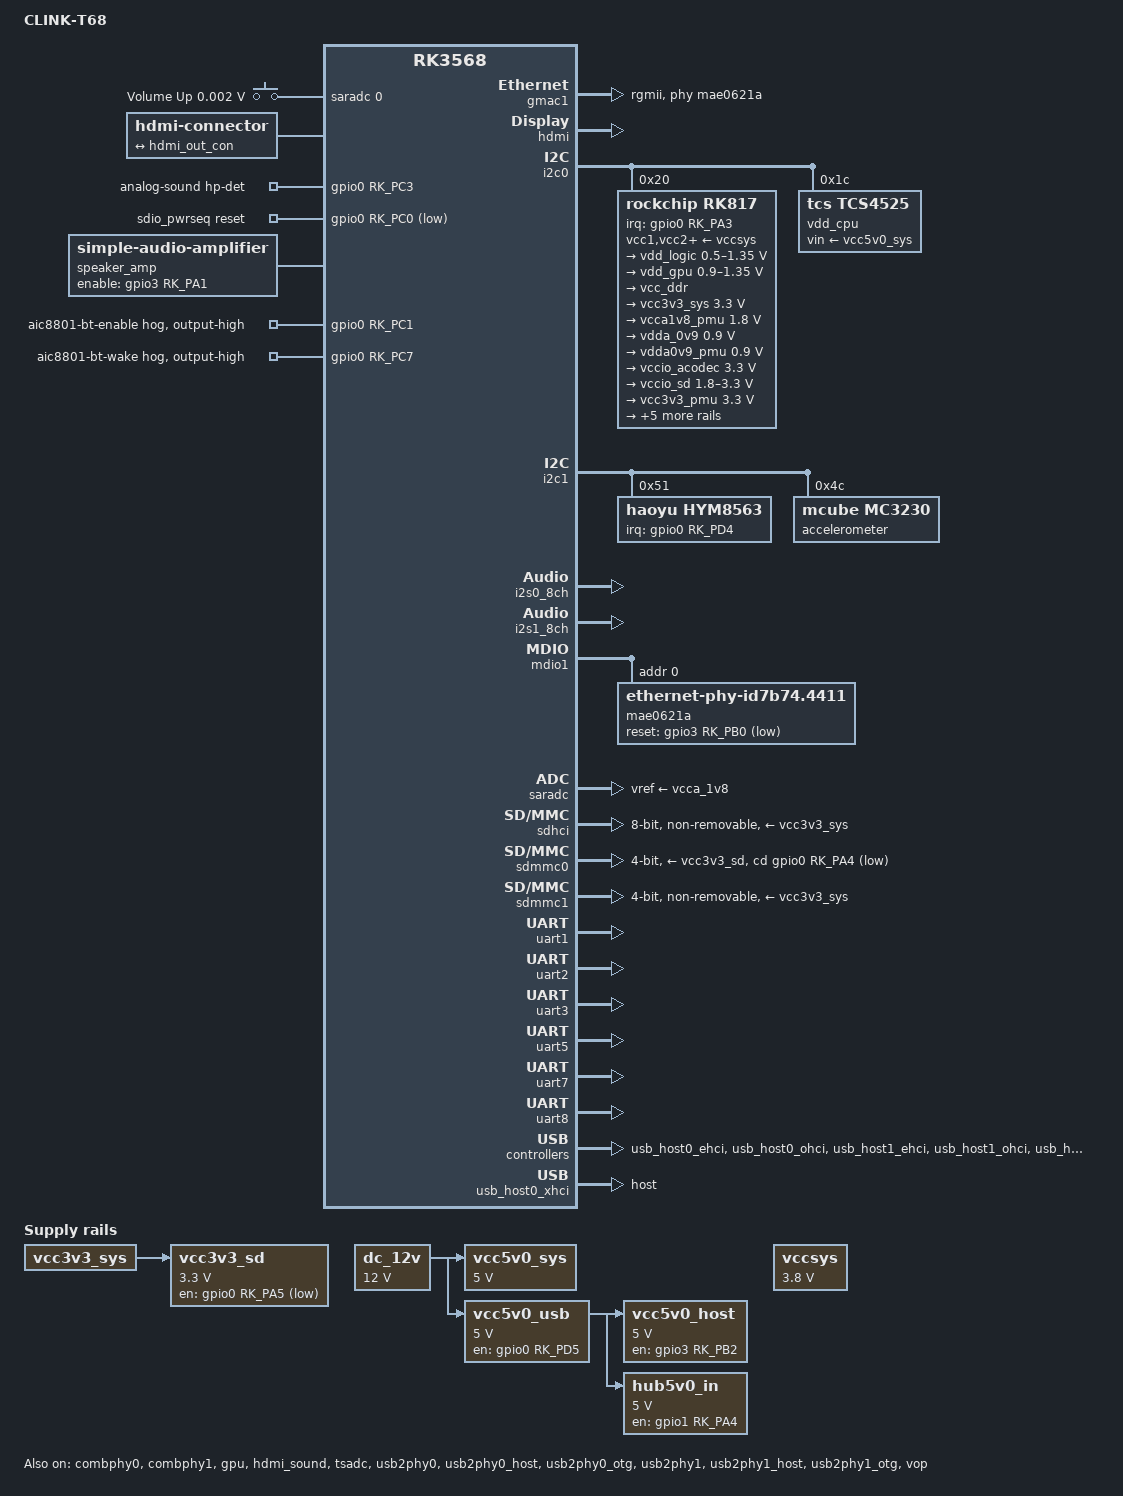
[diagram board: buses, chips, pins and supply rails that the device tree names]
// SPDX-License-Identifier: (GPL-2.0+ OR MIT)
/*
 * Copyright (c) 2022 Fuzhou Rockchip Electronics Co., Ltd.
 * Copyright (c) 2026 retro98boy <retro98boy@qq.com>
 */

/dts-v1/;

#include <dt-bindings/gpio/gpio.h>
#include <dt-bindings/input/input.h>
#include <dt-bindings/pinctrl/rockchip.h>
#include <dt-bindings/soc/rockchip,vop2.h>
#include "rk3568.dtsi"

/ {
	model = "CLINK-T68";
	compatible = "clink,t68", "rockchip,rk3568";

	adc-keys {
		compatible = "adc-keys";
		io-channels = <&saradc 0>;
		io-channel-names = "buttons";
		keyup-threshold-microvolt = <1800000>;
		poll-interval = <100>;

		button-volume-up {
			label = "Volume Up";
			linux,code = <KEY_VOLUMEUP>;
			press-threshold-microvolt = <1750>;
		};
	};

	aliases {
		/delete-property/ ethernet1;
		ethernet0 = &gmac1;
		mmc0 = &sdhci;
		mmc1 = &sdmmc0;
		mmc2 = &sdmmc1;
		rtc0 = &hym8563;
		rtc1 = &rk817;
	};

	chosen {
		stdout-path = "serial2:1500000n8";
	};

	hdmi-con {
		compatible = "hdmi-connector";
		type = "a";

		port {
			hdmi_con_in: endpoint {
				remote-endpoint = <&hdmi_out_con>;
			};
		};
	};

	analog-sound {
		compatible = "simple-audio-card";
		pinctrl-names = "default";
		pinctrl-0 = <&hp_det>;
		simple-audio-card,name = "CLINK-T68";
		simple-audio-card,format = "i2s";
		simple-audio-card,mclk-fs = <256>;
		simple-audio-card,hp-det-gpios = <&gpio0 RK_PC3 GPIO_ACTIVE_HIGH>;
		simple-audio-card,aux-devs = <&speaker_amp>;
		simple-audio-card,pin-switches = "Speaker";
		simple-audio-card,widgets =
			"Headphone", "Headphones",
			"Speaker", "Speaker",
			"Microphone", "Microphone";
		/* The RK817 shares its left headphone pin with the Class-D output. */
		simple-audio-card,routing =
			"Headphones", "HPOR",
			"Speaker Amp INL", "SPKO",
			"Speaker Amp INR", "SPKO",
			"Speaker", "Speaker Amp OUTL",
			"Speaker", "Speaker Amp OUTR",
			"MICL", "Microphone",
			"MICR", "Microphone";

		simple-audio-card,cpu {
			sound-dai = <&i2s1_8ch>;
		};

		simple-audio-card,codec {
			sound-dai = <&rk817>;
		};
	};

	sdio_pwrseq: sdio-pwrseq {
		compatible = "mmc-pwrseq-simple";
		clocks = <&xin32k>;
		clock-names = "ext_clock";
		pinctrl-names = "default";
		pinctrl-0 = <&wifi_enable_h>;
		reset-gpios = <&gpio0 RK_PC0 GPIO_ACTIVE_LOW>;
		post-power-on-delay-ms = <200>;
	};

	speaker_amp: speaker-amplifier {
		compatible = "simple-audio-amplifier";
		enable-gpios = <&gpio3 RK_PA1 GPIO_ACTIVE_HIGH>;
		sound-name-prefix = "Speaker Amp";
	};

	dc_12v: regulator-dc-12v {
		compatible = "regulator-fixed";
		regulator-name = "dc_12v";
		regulator-always-on;
		regulator-boot-on;
		regulator-min-microvolt = <12000000>;
		regulator-max-microvolt = <12000000>;
	};

	vccsys: regulator-vccsys {
		compatible = "regulator-fixed";
		regulator-name = "vcc3v8_sys";
		regulator-always-on;
		regulator-boot-on;
		regulator-min-microvolt = <3800000>;
		regulator-max-microvolt = <3800000>;
	};

	vcc3v3_sd: regulator-vcc3v3-sd {
		compatible = "regulator-fixed";
		regulator-name = "vcc3v3_sd";
		regulator-always-on;
		regulator-boot-on;
		regulator-min-microvolt = <3300000>;
		regulator-max-microvolt = <3300000>;
		enable-active-low;
		gpio = <&gpio0 RK_PA5 GPIO_ACTIVE_LOW>;
		vin-supply = <&vcc3v3_sys>;
		pinctrl-names = "default";
		pinctrl-0 = <&sdmmc0_pwr>;

		regulator-state-mem {
			regulator-off-in-suspend;
		};
	};

	vcc5v0_sys: regulator-vcc5v0-sys {
		compatible = "regulator-fixed";
		regulator-name = "vcc5v0_sys";
		regulator-always-on;
		regulator-boot-on;
		regulator-min-microvolt = <5000000>;
		regulator-max-microvolt = <5000000>;
		vin-supply = <&dc_12v>;
	};

	vcc5v0_usb: regulator-vcc5v0-usb {
		compatible = "regulator-fixed";
		regulator-name = "vcc5v0_usb";
		regulator-always-on;
		regulator-boot-on;
		regulator-min-microvolt = <5000000>;
		regulator-max-microvolt = <5000000>;
		enable-active-high;
		gpio = <&gpio0 RK_PD5 GPIO_ACTIVE_HIGH>;
		vin-supply = <&dc_12v>;

		regulator-state-mem {
			regulator-off-in-suspend;
		};
	};

	vcc5v0_host: regulator-vcc5v0-host {
		compatible = "regulator-fixed";
		regulator-name = "vcc5v0_host";
		regulator-boot-on;
		regulator-always-on;
		regulator-min-microvolt = <5000000>;
		regulator-max-microvolt = <5000000>;
		enable-active-high;
		gpio = <&gpio3 RK_PB2 GPIO_ACTIVE_HIGH>;
		vin-supply = <&vcc5v0_usb>;
		pinctrl-names = "default";
		pinctrl-0 = <&vcc5v0_host_en>;
	};

	hub5v0_in: regulator-hub5v0-in {
		compatible = "regulator-fixed";
		regulator-name = "hub5v0_in";
		regulator-boot-on;
		regulator-always-on;
		regulator-min-microvolt = <5000000>;
		regulator-max-microvolt = <5000000>;
		enable-active-high;
		gpio = <&gpio1 RK_PA4 GPIO_ACTIVE_HIGH>;
		vin-supply = <&vcc5v0_usb>;
		pinctrl-names = "default";
		pinctrl-0 = <&hub5v0_in_en>;

		regulator-state-mem {
			regulator-off-in-suspend;
		};
	};
};

&combphy0 {
	phy-supply = <&otg_switch>;
	status = "okay";
};

&combphy1 {
	phy-supply = <&vcc5v0_host>;
	status = "okay";
};

&cpu0 {
	cpu-supply = <&vdd_cpu>;
};

&cpu1 {
	cpu-supply = <&vdd_cpu>;
};

&cpu2 {
	cpu-supply = <&vdd_cpu>;
};

&cpu3 {
	cpu-supply = <&vdd_cpu>;
};

&gmac1 {
	phy-mode = "rgmii";
	clock_in_out = "output";
	assigned-clocks = <&cru SCLK_GMAC1_RX_TX>, <&cru SCLK_GMAC1>;
	assigned-clock-parents = <&cru SCLK_GMAC1_RGMII_SPEED>;
	assigned-clock-rates = <0>, <125000000>;
	pinctrl-names = "default";
	pinctrl-0 = <&gmac1m1_miim &gmac1m1_tx_bus2 &gmac1m1_rx_bus2
		     &gmac1m1_rgmii_clk &gmac1m1_rgmii_bus>;
	tx_delay = <0x30>;
	rx_delay = <0x20>;
	phy-handle = <&mae0621a>;
	status = "okay";
};

&gpio0 {
	bluetooth-enable {
		gpio-hog;
		gpios = <RK_PC1 GPIO_ACTIVE_HIGH>;
		output-high;
		line-name = "aic8801-bt-enable";
	};

	bluetooth-wake {
		gpio-hog;
		gpios = <RK_PC7 GPIO_ACTIVE_HIGH>;
		output-high;
		line-name = "aic8801-bt-wake";
	};
};

&gpu {
	mali-supply = <&vdd_gpu>;
	status = "okay";
};

&hdmi {
	avdd-0v9-supply = <&vdda_0v9>;
	avdd-1v8-supply = <&vcca_1v8>;
	status = "okay";
};

&hdmi_in {
	hdmi_in_vp0: endpoint {
		remote-endpoint = <&vp0_out_hdmi>;
	};
};

&hdmi_out {
	hdmi_out_con: endpoint {
		remote-endpoint = <&hdmi_con_in>;
	};
};

&hdmi_sound {
	status = "okay";
};

&i2c0 {
	status = "okay";

	rk817: pmic@20 {
		compatible = "rockchip,rk817";
		reg = <0x20>;
		interrupt-parent = <&gpio0>;
		interrupts = <RK_PA3 IRQ_TYPE_LEVEL_LOW>;

		assigned-clocks = <&cru I2S1_MCLKOUT_TX>;
		assigned-clock-parents = <&cru CLK_I2S1_8CH_TX>;
		clocks = <&cru I2S1_MCLKOUT_TX>;
		clock-names = "mclk";
		pinctrl-names = "default";
		pinctrl-0 = <&pmic_int &i2s1m0_mclk &soc_slppin_gpio>;
		system-power-controller;
		wakeup-source;
		#clock-cells = <1>;
		#sound-dai-cells = <0>;

		vcc1-supply = <&vccsys>;
		vcc2-supply = <&vccsys>;
		vcc3-supply = <&vccsys>;
		vcc4-supply = <&vccsys>;
		vcc5-supply = <&vccsys>;
		vcc6-supply = <&vccsys>;
		vcc7-supply = <&vccsys>;
		vcc8-supply = <&vccsys>;
		vcc9-supply = <&vccsys>;

		regulators {
			vdd_logic: DCDC_REG1 {
				regulator-always-on;
				regulator-boot-on;
				regulator-min-microvolt = <500000>;
				regulator-max-microvolt = <1350000>;
				regulator-ramp-delay = <6001>;
				regulator-initial-mode = <2>;
				regulator-name = "vdd_logic";

				regulator-state-mem {
					regulator-off-in-suspend;
				};
			};

			vdd_gpu: DCDC_REG2 {
				regulator-always-on;
				regulator-boot-on;
				regulator-min-microvolt = <900000>;
				regulator-max-microvolt = <1350000>;
				regulator-ramp-delay = <6001>;
				regulator-initial-mode = <2>;
				regulator-name = "vdd_gpu";

				regulator-state-mem {
					regulator-off-in-suspend;
				};
			};

			vcc_ddr: DCDC_REG3 {
				regulator-always-on;
				regulator-boot-on;
				regulator-initial-mode = <2>;
				regulator-name = "vcc_ddr";

				regulator-state-mem {
					regulator-on-in-suspend;
				};
			};

			vcc3v3_sys: DCDC_REG4 {
				regulator-always-on;
				regulator-boot-on;
				regulator-min-microvolt = <3300000>;
				regulator-max-microvolt = <3300000>;
				regulator-initial-mode = <2>;
				regulator-name = "vcc3v3_sys";

				regulator-state-mem {
					regulator-on-in-suspend;
					regulator-suspend-microvolt = <3300000>;
				};
			};

			vcca1v8_pmu: LDO_REG1 {
				regulator-always-on;
				regulator-boot-on;
				regulator-min-microvolt = <1800000>;
				regulator-max-microvolt = <1800000>;
				regulator-name = "vcca1v8_pmu";

				regulator-state-mem {
					regulator-on-in-suspend;
				};
			};

			vdda_0v9: LDO_REG2 {
				regulator-always-on;
				regulator-boot-on;
				regulator-min-microvolt = <900000>;
				regulator-max-microvolt = <900000>;
				regulator-name = "vdda_0v9";

				regulator-state-mem {
					regulator-off-in-suspend;
				};
			};

			vdda0v9_pmu: LDO_REG3 {
				regulator-always-on;
				regulator-boot-on;
				regulator-min-microvolt = <900000>;
				regulator-max-microvolt = <900000>;
				regulator-name = "vdda0v9_pmu";

				regulator-state-mem {
					regulator-on-in-suspend;
					regulator-suspend-microvolt = <900000>;
				};
			};

			vccio_acodec: LDO_REG4 {
				regulator-always-on;
				regulator-boot-on;
				regulator-min-microvolt = <3300000>;
				regulator-max-microvolt = <3300000>;
				regulator-name = "vccio_acodec";

				regulator-state-mem {
					regulator-off-in-suspend;
				};
			};

			vccio_sd: LDO_REG5 {
				regulator-always-on;
				regulator-boot-on;
				regulator-min-microvolt = <1800000>;
				regulator-max-microvolt = <3300000>;
				regulator-name = "vccio_sd";

				regulator-state-mem {
					regulator-off-in-suspend;
				};
			};

			vcc3v3_pmu: LDO_REG6 {
				regulator-always-on;
				regulator-boot-on;
				regulator-min-microvolt = <3300000>;
				regulator-max-microvolt = <3300000>;
				regulator-name = "vcc3v3_pmu";

				regulator-state-mem {
					regulator-on-in-suspend;
					regulator-suspend-microvolt = <3300000>;
				};
			};

			vcca_1v8: LDO_REG7 {
				regulator-always-on;
				regulator-boot-on;
				regulator-min-microvolt = <1800000>;
				regulator-max-microvolt = <1800000>;
				regulator-name = "vcca_1v8";

				regulator-state-mem {
					regulator-off-in-suspend;
				};
			};

			vdda2v8_image: LDO_REG8 {
				regulator-always-on;
				regulator-boot-on;
				regulator-min-microvolt = <2800000>;
				regulator-max-microvolt = <2800000>;
				regulator-name = "vdda2v8_image";

				regulator-state-mem {
					regulator-off-in-suspend;
				};
			};

			vcca1v8_image: LDO_REG9 {
				regulator-always-on;
				regulator-boot-on;
				regulator-min-microvolt = <1800000>;
				regulator-max-microvolt = <1800000>;
				regulator-name = "vcca1v8_image";

				regulator-state-mem {
					regulator-off-in-suspend;
				};
			};

			dcdc_boost: BOOST {
				regulator-always-on;
				regulator-boot-on;
				regulator-min-microvolt = <5000000>;
				regulator-max-microvolt = <5000000>;
				regulator-name = "boost";

				regulator-state-mem {
					regulator-off-in-suspend;
				};
			};

			otg_switch: OTG_SWITCH {
				regulator-name = "otg_switch";

				regulator-state-mem {
					regulator-off-in-suspend;
				};
			};
		};

		codec {
			rockchip,mic-in-differential;
		};
	};

	vdd_cpu: regulator@1c {
		compatible = "tcs,tcs4525";
		reg = <0x1c>;
		fcs,suspend-voltage-selector = <0x01>;
		regulator-always-on;
		regulator-boot-on;
		regulator-max-microvolt = <1390000>;
		regulator-min-microvolt = <712500>;
		regulator-name = "vdd_cpu";
		regulator-ramp-delay = <2300>;
		vin-supply = <&vcc5v0_sys>;

		regulator-state-mem {
			regulator-off-in-suspend;
		};
	};
};

&i2c1 {
	status = "okay";

	hym8563: rtc@51 {
		compatible = "haoyu,hym8563";
		reg = <0x51>;
		interrupt-parent = <&gpio0>;
		interrupts = <RK_PD4 IRQ_TYPE_LEVEL_LOW>;
		pinctrl-names = "default";
		pinctrl-0 = <&rtc_int>;
		wakeup-source;
	};

	accelerometer@4c {
		compatible = "mcube,mc3230";
		reg = <0x4c>;
		mount-matrix = "-1", "0", "0",
			       "0", "-1", "0",
			       "0", "0", "1";
	};
};

&i2s0_8ch {
	status = "okay";
};

&i2s1_8ch {
	rockchip,trcm-sync-tx-only;
	pinctrl-names = "default";
	pinctrl-0 = <&i2s1m0_sclktx &i2s1m0_lrcktx
		     &i2s1m0_sdi0 &i2s1m0_sdo0>;
	status = "okay";
};

&mdio1 {
	mae0621a: ethernet-phy@0 {
		compatible = "ethernet-phy-id7b74.4411", "ethernet-phy-ieee802.3-c22";
		reg = <0>;
		reset-gpios = <&gpio3 RK_PB0 GPIO_ACTIVE_LOW>;
		reset-assert-us = <40000>;
		reset-deassert-us = <100000>;
	};
};

&pinctrl {
	rtc {
		rtc_int: rtc-int {
			rockchip,pins = <0 RK_PD4 RK_FUNC_GPIO &pcfg_pull_none>;
		};
	};

	headphone {
		hp_det: hp-det {
			rockchip,pins = <0 RK_PC3 RK_FUNC_GPIO &pcfg_pull_none>;
		};
	};

	pmic {
		pmic_int: pmic-int {
			rockchip,pins = <0 RK_PA3 RK_FUNC_GPIO &pcfg_pull_up>;
		};

		soc_slppin_gpio: soc-slppin-gpio {
			rockchip,pins = <0 RK_PA2 RK_FUNC_GPIO &pcfg_output_low>;
		};
	};

	sdio-pwrseq {
		wifi_enable_h: wifi-enable-h {
			rockchip,pins = <0 RK_PC0 RK_FUNC_GPIO &pcfg_pull_none>,
					<0 RK_PA0 RK_FUNC_GPIO &pcfg_output_low>;
		};
	};

	sdmmc {
		sdmmc0_pwr: sdmmc0-pwr {
			rockchip,pins = <0 RK_PA5 RK_FUNC_GPIO &pcfg_pull_down>;
		};
	};

	usb {
		vcc5v0_host_en: vcc5v0-host-en {
			rockchip,pins = <3 RK_PB2 RK_FUNC_GPIO &pcfg_pull_none>;
		};

		hub5v0_in_en: hub5v0-in-en {
			rockchip,pins = <1 RK_PA4 RK_FUNC_GPIO &pcfg_pull_none>,
					<1 RK_PB0 RK_FUNC_GPIO &pcfg_pull_up>;
		};
	};
};

&pmu_io_domains {
	pmuio2-supply = <&vcc3v3_pmu>;
	vccio1-supply = <&vccio_acodec>;
	vccio3-supply = <&vccio_sd>;
	vccio4-supply = <&vcc3v3_pmu>;
	vccio5-supply = <&vcc3v3_sys>;
	vccio6-supply = <&vcca_1v8>;
	vccio7-supply = <&vcc3v3_sys>;
	status = "okay";
};

&saradc {
	vref-supply = <&vcca_1v8>;
	status = "okay";
};

&sdhci {
	bus-width = <8>;
	mmc-hs200-1_8v;
	no-sd;
	no-sdio;
	max-frequency = <200000000>;
	non-removable;
	full-pwr-cycle-in-suspend;
	pinctrl-names = "default";
	pinctrl-0 = <&emmc_bus8 &emmc_clk &emmc_cmd &emmc_datastrobe &emmc_rstnout>;
	vmmc-supply = <&vcc3v3_sys>;
	vqmmc-supply = <&vcca_1v8>;
	status = "okay";
};

&sdmmc0 {
	no-mmc;
	no-sdio;
	bus-width = <4>;
	cap-sd-highspeed;
	sd-uhs-sdr104;
	disable-wp;
	cd-gpios = <&gpio0 RK_PA4 GPIO_ACTIVE_LOW>;
	pinctrl-names = "default";
	pinctrl-0 = <&sdmmc0_bus4 &sdmmc0_clk &sdmmc0_cmd>;
	vmmc-supply = <&vcc3v3_sd>;
	vqmmc-supply = <&vccio_sd>;
	status = "okay";
};

&sdmmc1 {
	no-sd;
	no-mmc;
	bus-width = <4>;
	disable-wp;
	cap-sd-highspeed;
	cap-sdio-irq;
	keep-power-in-suspend;
	mmc-pwrseq = <&sdio_pwrseq>;
	non-removable;
	pinctrl-names = "default";
	pinctrl-0 = <&sdmmc1_bus4 &sdmmc1_cmd &sdmmc1_clk>;
	vmmc-supply = <&vcc3v3_sys>;
	vqmmc-supply = <&vcc3v3_sys>;
	status = "okay";
};

&tsadc {
	status = "okay";
};

&uart1 {
	dma-names = "tx", "rx";
	pinctrl-names = "default";
	pinctrl-0 = <&uart1m0_xfer &uart1m0_ctsn &uart1m0_rtsn>;
	uart-has-rtscts;
	status = "okay";
};

/* Debug UART */
&uart2 {
	status = "okay";
};

&uart3 {
	pinctrl-names = "default";
	pinctrl-0 = <&uart3m1_xfer>;
	status = "okay";
};

&uart5 {
	pinctrl-names = "default";
	pinctrl-0 = <&uart5m1_xfer>;
	status = "okay";
};


&uart7 {
	pinctrl-names = "default";
	pinctrl-0 = <&uart7m1_xfer>;
	status = "okay";
};

&uart8 {
	pinctrl-names = "default";
	pinctrl-0 = <&uart8m1_xfer>;
	status = "okay";
};

&usb2phy0 {
	status = "okay";
};

&usb2phy0_host {
	phy-supply = <&vcc5v0_host>;
	status = "okay";
};

&usb2phy0_otg {
	phy-supply = <&otg_switch>;
	status = "okay";
};

&usb2phy1 {
	status = "okay";
};

&usb2phy1_host {
	phy-supply = <&hub5v0_in>;
	status = "okay";
};

&usb2phy1_otg {
	phy-supply = <&hub5v0_in>;
	status = "okay";
};

&usb_host0_ehci {
	status = "okay";
};

&usb_host0_ohci {
	status = "okay";
};

&usb_host0_xhci {
	dr_mode = "host";
	status = "okay";
};

&usb_host1_ehci {
	status = "okay";
};

&usb_host1_ohci {
	status = "okay";
};

&usb_host1_xhci {
	status = "okay";
};

&vop {
	assigned-clocks = <&cru DCLK_VOP0>, <&cru DCLK_VOP1>;
	assigned-clock-parents = <&pmucru PLL_HPLL>, <&cru PLL_VPLL>;
	status = "okay";
};

&vop_mmu {
	status = "okay";
};

&vp0 {
	vp0_out_hdmi: endpoint@ROCKCHIP_VOP2_EP_HDMI0 {
		reg = <ROCKCHIP_VOP2_EP_HDMI0>;
		remote-endpoint = <&hdmi_in_vp0>;
	};
};
